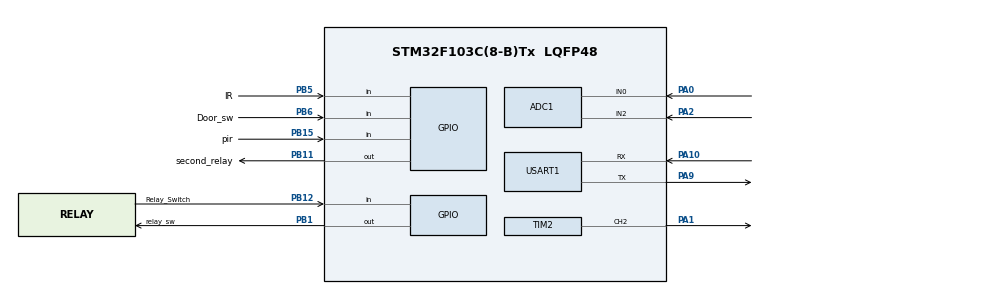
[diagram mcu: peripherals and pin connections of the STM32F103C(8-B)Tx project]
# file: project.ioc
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ADC1.Channel-0\#ChannelRegularConversion=ADC_CHANNEL_0
ADC1.Channel-1\#ChannelRegularConversion=ADC_CHANNEL_2
ADC1.ContinuousConvMode=ENABLE
ADC1.NbrOfConversion=2
ADC1.NbrOfConversionFlag=1
ADC1.Rank-0\#ChannelRegularConversion=1
ADC1.Rank-1\#ChannelRegularConversion=2
ADC1.SamplingTime-0\#ChannelRegularConversion=ADC_SAMPLETIME_239CYCLES_5
ADC1.SamplingTime-1\#ChannelRegularConversion=ADC_SAMPLETIME_239CYCLES_5
ADC1.master=1
Dma.ADC1.0.Direction=DMA_PERIPH_TO_MEMORY
Dma.ADC1.0.Instance=DMA1_Channel1
Dma.ADC1.0.MemDataAlignment=DMA_MDATAALIGN_HALFWORD
Dma.ADC1.0.MemInc=DMA_MINC_ENABLE
Dma.ADC1.0.Mode=DMA_CIRCULAR
Dma.ADC1.0.PeriphDataAlignment=DMA_PDATAALIGN_HALFWORD
Dma.ADC1.0.PeriphInc=DMA_PINC_DISABLE
Dma.ADC1.0.Priority=DMA_PRIORITY_LOW
Dma.Request0=ADC1
Mcu.Family=STM32F1
Mcu.Name=STM32F103C(8-B)Tx
Mcu.Package=LQFP48
NVIC.ADC1_2_IRQn=true\:1\:0\:true\:false\:true\:true\:true\:true
NVIC.DMA1_Channel1_IRQn=true\:0\:0\:false\:false\:true\:false\:true\:true
NVIC.PriorityGroup=NVIC_PRIORITYGROUP_4
PA0-WKUP.Signal=ADCx_IN0
PA1.Signal=S_TIM2_CH2
PA10.Mode=Asynchronous
PA10.Signal=USART1_RX
PA13.Mode=Serial_Wire
PA13.Signal=SYS_JTMS-SWDIO
PA14.Mode=Serial_Wire
PA14.Signal=SYS_JTCK-SWCLK
PA2.Signal=ADCx_IN2
PA9.Mode=Asynchronous
PA9.Signal=USART1_TX
PB1.GPIO_Label=relay_sw
PB1.Signal=GPIO_Output
PB11.GPIO_Label=second_relay
PB11.Signal=GPIO_Output
PB12.GPIO_Label=Relay_Switch
PB12.GPIO_PuPd=GPIO_PULLUP
PB12.Signal=GPIO_Input
PB15.GPIO_Label=pir
PB15.Signal=GPIO_Input
PB5.GPIO_Label=IR
PB5.GPIO_PuPd=GPIO_NOPULL
PB5.Signal=GPIO_Input
PB6.GPIO_Label=Door_sw
PB6.GPIO_PuPd=GPIO_PULLUP
PB6.Signal=GPIO_Input
PD0-OSC_IN.Mode=HSE-External-Oscillator
PD0-OSC_IN.Signal=RCC_OSC_IN
PD1-OSC_OUT.Mode=HSE-External-Oscillator
PD1-OSC_OUT.Signal=RCC_OSC_OUT
ProjectManager.HeapSize=0x200
ProjectManager.StackSize=0x400
ProjectManager.TargetToolchain=STM32CubeIDE
RCC.APB1Freq_Value=8000000
RCC.APB2Freq_Value=8000000
RCC.PLLSourceVirtual=RCC_PLLSOURCE_HSE
RCC.SYSCLKSource=RCC_SYSCLKSOURCE_HSE
RCC.USBFreq_Value=16000000
SH.ADCx_IN0.0=ADC1_IN0,IN0
SH.ADCx_IN2.0=ADC1_IN2,IN2
SH.S_TIM2_CH2.0=TIM2_CH2,PWM Generation2 CH2
TIM2.Channel-PWM\ Generation2\ CH2=TIM_CHANNEL_2
TIM2.Period=4096
TIM2.Prescaler=127
USART1.VirtualMode=VM_ASYNC
VP_TIM2_VS_ClockSourceINT.Mode=Internal
board=custom

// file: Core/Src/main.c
/* USER CODE BEGIN Header */
/**
  ******************************************************************************
  * @file           : main.c
  * @brief          : Main program body
  ******************************************************************************
  * @attention
  *
  * Copyright (c) 2024 STMicroelectronics.
  * All rights reserved.
  *
  * This software is licensed under terms that can be found in the LICENSE file
  * in the root directory of this software component.
  * If no LICENSE file comes with this software, it is provided AS-IS.
  *
  ******************************************************************************
  */
/* USER CODE END Header */
#include "main.h"

ADC_HandleTypeDef hadc1;
DMA_HandleTypeDef hdma_adc1;

TIM_HandleTypeDef htim2;
CAN_HandleTypeDef hcan;
UART_HandleTypeDef huart1;

/* USER CODE BEGIN PV */
uint16_t ldr;
uint16_t motor;
uint16_t motion;
uint8_t ldr_flag;
uint8_t motion_flag;
uint8_t motor_flag;
uint16_t door_sw;
uint16_t ir_state;
uint16_t data[8];
uint8_t send[3];
uint8_t text1 [] = "LDR:";
uint8_t text3 [] = "Motor:";
uint8_t text2 [] = "Motion:";
uint16_t raw_values[2];

/* USER CODE END PV */

void SystemClock_Config(void);
static void MX_GPIO_Init(void);
static void MX_DMA_Init(void);
static void MX_ADC1_Init(void);
static void MX_TIM2_Init(void);
static void MX_USART1_UART_Init(void);
/* USER CODE BEGIN PFP */
uint8_t conversion_complete = 0;

CAN_TxHeaderTypeDef TxHeader;
CAN_RxHeaderTypeDef RxHeader;

uint8_t TxData[8];
uint8_t RxData[8];

uint32_t TxMailbox;

void HAL_ADC_ConvCpltCallback(ADC_HandleTypeDef* hadc)
{
	conversion_complete = 1;
}

/* USER CODE END PFP */

int main(void)
{

  /* MCU Configuration--------------------------------------------------------*/

  /* Reset of all peripherals, Initializes the Flash interface and the Systick. */
  HAL_Init();

  /* Configure the system clock */
  SystemClock_Config();

  /* Initialize all configured peripherals */
  MX_GPIO_Init();
  MX_DMA_Init();
  MX_ADC1_Init();
  HAL_GPIO_WritePin(relay_sw_GPIO_Port, relay_sw_Pin, 1);
  MX_TIM2_Init();
  MX_USART1_UART_Init();
  /* USER CODE BEGIN 2 */
  HAL_TIM_PWM_Start(&htim2, TIM_CHANNEL_2);
/* USER CODE BEGIN 2 */
  HAL_ADC_Start_DMA(&hadc1, (uint32_t *)raw_values, 2);
  /* USER CODE END 2 */

  HAL_CAN_Start(&hcan);

  HAL_CAN_ActivateNotification(&hcan, CAN_IT_RX_FIFO0_MSG_PENDING);
  /* USER CODE END 2 */
  TxHeader.DLC = 2;
  TxHeader.IDE = CAN_ID_STD;
  TxHeader.RTR = CAN_RTR_DATA;
  TxHeader.StdId = 0x103;
  /* Infinite loop */
  while (1)
    {
  	  while (!conversion_complete);
  	  for (uint8_t i=0; i<hadc1.Init.NbrOfConversion;i++){
  		  ldr = (uint16_t) raw_values[0];
  		  motor = (uint16_t) raw_values[1];
  	  }
  	  if (HAL_GPIO_ReadPin(Door_sw_GPIO_Port, Door_sw_Pin) == GPIO_PIN_RESET){
  		  door_sw = 1;
  		  if (HAL_GPIO_ReadPin(IR_GPIO_Port, IR_Pin) == GPIO_PIN_RESET){
  			HAL_GPIO_WritePin(second_relay_GPIO_Port, second_relay_Pin, 1);
  			motion_flag =1;
  		}
  		  else{
  			HAL_GPIO_WritePin(second_relay_GPIO_Port, second_relay_Pin, 0);
  			motion_flag =0;
  		  }
  	  }
  	  else {
  		  door_sw = 0;
  		  HAL_GPIO_WritePin(second_relay_GPIO_Port, second_relay_Pin, 1);
  	  }
  	motion_flag = 0;
  	  if (HAL_GPIO_ReadPin(IR_GPIO_Port, IR_Pin) == GPIO_PIN_RESET){
  		  motion_flag = 1;
  	  }
  	  else {
  		  motion_flag = 0;
  	  }

  	  if (HAL_GPIO_ReadPin(Relay_Switch_GPIO_Port, Relay_Switch_Pin) == GPIO_PIN_RESET){
  		  HAL_GPIO_WritePin(relay_sw_GPIO_Port, relay_sw_Pin, 0);
  		  motor_flag = 1;
  	  }
  	  else{
  		  HAL_GPIO_WritePin(relay_sw_GPIO_Port, relay_sw_Pin, 1);
  		  motor_flag =0;
  	  }

  	  if(ldr >3000){
  		  __HAL_TIM_SET_COMPARE(&htim2,TIM_CHANNEL_2, 4096);
  		  ldr_flag = 1;
  		  HAL_Delay(30);
  	  }
  	  else{
  		  __HAL_TIM_SET_COMPARE(&htim2,TIM_CHANNEL_2, 0);
  		  ldr_flag = 0;
  	  }
  	  TxData[0] = ldr_flag;
  	  TxData[1] = motion_flag;
  	  TxData[2] = motor_flag;
  	  HAL_CAN_AddTxMessage(&hcan, &TxHeader, TxData, &TxMailbox);
    }
  /* USER CODE END 3 */
}

void SystemClock_Config(void)
{
  RCC_OscInitTypeDef RCC_OscInitStruct = {0};
  RCC_ClkInitTypeDef RCC_ClkInitStruct = {0};
  RCC_PeriphCLKInitTypeDef PeriphClkInit = {0};

  /** Initializes the RCC Oscillators according to the specified parameters
  * in the RCC_OscInitTypeDef structure.
  */
  RCC_OscInitStruct.OscillatorType = RCC_OSCILLATORTYPE_HSE;
  RCC_OscInitStruct.HSEState = RCC_HSE_ON;
  RCC_OscInitStruct.PLL.PLLState = RCC_PLL_NONE;
  if (HAL_RCC_OscConfig(&RCC_OscInitStruct) != HAL_OK)
  {
    Error_Handler();
  }

  /** Initializes the CPU, AHB and APB buses clocks
  */
  RCC_ClkInitStruct.ClockType = RCC_CLOCKTYPE_HCLK|RCC_CLOCKTYPE_SYSCLK
                              |RCC_CLOCKTYPE_PCLK1|RCC_CLOCKTYPE_PCLK2;
  RCC_ClkInitStruct.SYSCLKSource = RCC_SYSCLKSOURCE_HSE;
  RCC_ClkInitStruct.AHBCLKDivider = RCC_SYSCLK_DIV1;
  RCC_ClkInitStruct.APB1CLKDivider = RCC_HCLK_DIV1;
  RCC_ClkInitStruct.APB2CLKDivider = RCC_HCLK_DIV1;

  if (HAL_RCC_ClockConfig(&RCC_ClkInitStruct, FLASH_LATENCY_0) != HAL_OK)
  {
    Error_Handler();
  }
  PeriphClkInit.PeriphClockSelection = RCC_PERIPHCLK_ADC;
  PeriphClkInit.AdcClockSelection = RCC_ADCPCLK2_DIV2;
  if (HAL_RCCEx_PeriphCLKConfig(&PeriphClkInit) != HAL_OK)
  {
    Error_Handler();
  }
}

static void MX_ADC1_Init(void)
{

  ADC_ChannelConfTypeDef sConfig = {0};

  /** Common config
  */
  hadc1.Instance = ADC1;
  hadc1.Init.ScanConvMode = ADC_SCAN_ENABLE;
  hadc1.Init.ContinuousConvMode = ENABLE;
  hadc1.Init.DiscontinuousConvMode = DISABLE;
  hadc1.Init.ExternalTrigConv = ADC_SOFTWARE_START;
  hadc1.Init.DataAlign = ADC_DATAALIGN_RIGHT;
  hadc1.Init.NbrOfConversion = 2;
  if (HAL_ADC_Init(&hadc1) != HAL_OK)
  {
    Error_Handler();
  }

  /** Configure Regular Channel
  */
  sConfig.Channel = ADC_CHANNEL_0;
  sConfig.Rank = ADC_REGULAR_RANK_1;
  sConfig.SamplingTime = ADC_SAMPLETIME_239CYCLES_5;
  if (HAL_ADC_ConfigChannel(&hadc1, &sConfig) != HAL_OK)
  {
    Error_Handler();
  }

  /** Configure Regular Channel
  */
  sConfig.Channel = ADC_CHANNEL_2;
  sConfig.Rank = ADC_REGULAR_RANK_2;
  if (HAL_ADC_ConfigChannel(&hadc1, &sConfig) != HAL_OK)
  {
    Error_Handler();
  }

}

static void MX_TIM2_Init(void)
{

  TIM_ClockConfigTypeDef sClockSourceConfig = {0};
  TIM_MasterConfigTypeDef sMasterConfig = {0};
  TIM_OC_InitTypeDef sConfigOC = {0};

  htim2.Instance = TIM2;
  htim2.Init.Prescaler = 127;
  htim2.Init.CounterMode = TIM_COUNTERMODE_UP;
  htim2.Init.Period = 4096;
  htim2.Init.ClockDivision = TIM_CLOCKDIVISION_DIV1;
  htim2.Init.AutoReloadPreload = TIM_AUTORELOAD_PRELOAD_DISABLE;
  if (HAL_TIM_Base_Init(&htim2) != HAL_OK)
  {
    Error_Handler();
  }
  sClockSourceConfig.ClockSource = TIM_CLOCKSOURCE_INTERNAL;
  if (HAL_TIM_ConfigClockSource(&htim2, &sClockSourceConfig) != HAL_OK)
  {
    Error_Handler();
  }
  if (HAL_TIM_PWM_Init(&htim2) != HAL_OK)
  {
    Error_Handler();
  }
  sMasterConfig.MasterOutputTrigger = TIM_TRGO_RESET;
  sMasterConfig.MasterSlaveMode = TIM_MASTERSLAVEMODE_DISABLE;
  if (HAL_TIMEx_MasterConfigSynchronization(&htim2, &sMasterConfig) != HAL_OK)
  {
    Error_Handler();
  }
  sConfigOC.OCMode = TIM_OCMODE_PWM1;
  sConfigOC.Pulse = 0;
  sConfigOC.OCPolarity = TIM_OCPOLARITY_HIGH;
  sConfigOC.OCFastMode = TIM_OCFAST_DISABLE;
  if (HAL_TIM_PWM_ConfigChannel(&htim2, &sConfigOC, TIM_CHANNEL_2) != HAL_OK)
  {
    Error_Handler();
  }
  HAL_TIM_MspPostInit(&htim2);

}

static void MX_USART1_UART_Init(void)
{

  huart1.Instance = USART1;
  huart1.Init.BaudRate = 115200;
  huart1.Init.WordLength = UART_WORDLENGTH_8B;
  huart1.Init.StopBits = UART_STOPBITS_1;
  huart1.Init.Parity = UART_PARITY_NONE;
  huart1.Init.Mode = UART_MODE_TX_RX;
  huart1.Init.HwFlowCtl = UART_HWCONTROL_NONE;
  huart1.Init.OverSampling = UART_OVERSAMPLING_16;
  if (HAL_UART_Init(&huart1) != HAL_OK)
  {
    Error_Handler();
  }

}

static void MX_DMA_Init(void)
{

  /* DMA controller clock enable */
  __HAL_RCC_DMA1_CLK_ENABLE();

  /* DMA interrupt init */
  /* DMA1_Channel1_IRQn interrupt configuration */
  HAL_NVIC_SetPriority(DMA1_Channel1_IRQn, 0, 0);
  HAL_NVIC_EnableIRQ(DMA1_Channel1_IRQn);

}

static void MX_GPIO_Init(void)
{
  GPIO_InitTypeDef GPIO_InitStruct = {0};

  /* GPIO Ports Clock Enable */
  __HAL_RCC_GPIOD_CLK_ENABLE();
  __HAL_RCC_GPIOA_CLK_ENABLE();
  __HAL_RCC_GPIOB_CLK_ENABLE();

  /*Configure GPIO pin Output Level */
  HAL_GPIO_WritePin(GPIOB, relay_sw_Pin|second_relay_Pin, GPIO_PIN_RESET);

  /*Configure GPIO pins : relay_sw_Pin second_relay_Pin */
  GPIO_InitStruct.Pin = relay_sw_Pin|second_relay_Pin;
  GPIO_InitStruct.Mode = GPIO_MODE_OUTPUT_PP;
  GPIO_InitStruct.Pull = GPIO_NOPULL;
  GPIO_InitStruct.Speed = GPIO_SPEED_FREQ_LOW;
  HAL_GPIO_Init(GPIOB, &GPIO_InitStruct);

  /*Configure GPIO pins : Relay_Switch_Pin Door_sw_Pin */
  GPIO_InitStruct.Pin = Relay_Switch_Pin|Door_sw_Pin;
  GPIO_InitStruct.Mode = GPIO_MODE_INPUT;
  GPIO_InitStruct.Pull = GPIO_PULLUP;
  HAL_GPIO_Init(GPIOB, &GPIO_InitStruct);

  /*Configure GPIO pins : pir_Pin IR_Pin */
  GPIO_InitStruct.Pin = pir_Pin|IR_Pin;
  GPIO_InitStruct.Mode = GPIO_MODE_INPUT;
  GPIO_InitStruct.Pull = GPIO_NOPULL;
  HAL_GPIO_Init(GPIOB, &GPIO_InitStruct);

}

void Error_Handler(void)
{
  __disable_irq();
  while (1)
  {
  }
}
